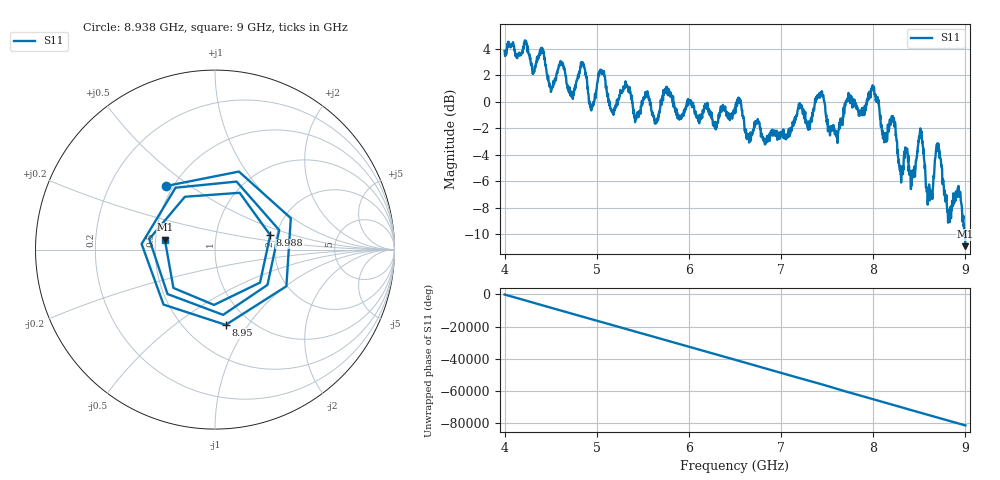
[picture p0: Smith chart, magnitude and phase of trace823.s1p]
! Created with skrf 1.8.0 (http://scikit-rf.org).
# Hz S RI R 50.0
!freq ReS11 ImS11
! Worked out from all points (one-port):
!   1601 points, 4 GHz to 9 GHz, reference 50 ohm
!   lowest |S11| = -10.9 dB at 9 GHz (marker M1), VSWR 1.80, Z = 28 + j3.36 ohm
!   |S11| at or under -10 dB: 8.988792 GHz to end of sweep
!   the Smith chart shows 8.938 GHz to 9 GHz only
!   S11 on the Smith chart (normalised r, x): 8.938 GHz: 0.46, +0.41; 8.95 GHz: 0.77, -0.79; 8.988 GHz: 1.85, +0.33; 9 GHz: 0.56, +0.07
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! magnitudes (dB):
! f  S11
! 4 GHz  3.8
! 4.625 GHz  2.9
! 4.725 GHz  0.5
! 4.85 GHz  2.8
! 4.941 GHz  -0.6
! 5.053 GHz  2.2
! 5.162 GHz  -0.7
! 5.25 GHz  0.5
! 5.875 GHz  -1.0
! 6.5 GHz  -0.4
! 7.125 GHz  -1.5
! 7.434 GHz  0.6
! 7.603 GHz  -2.4
! 7.75 GHz  -0.1
! 8 GHz  1.2
! 8.125 GHz  -2.8
! 8.216 GHz  -1.2
! 8.297 GHz  -5.5
! 8.375 GHz  -4.0
! 8.434 GHz  -5.7
! 8.516 GHz  -2.2
! 8.606 GHz  -6.2
! 8.7 GHz  -3.7
! 8.822 GHz  -9.0
! 8.938 GHz  -7.0
! 8.95 GHz  -7.5
! 8.988 GHz  -9.9
! 9 GHz  -10.9
